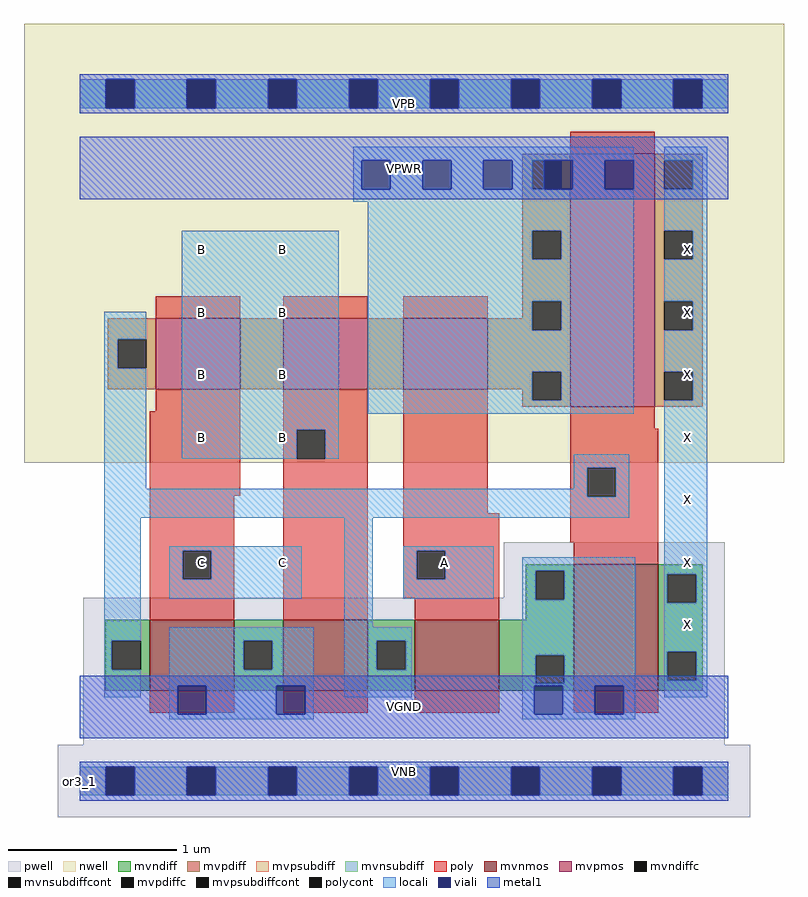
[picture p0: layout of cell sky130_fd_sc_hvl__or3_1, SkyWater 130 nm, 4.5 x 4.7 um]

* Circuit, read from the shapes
.subckt sky130_fd_sc_hvl__or3_1 A B C VGND VNB VPB VPWR X
XM1 VGND C n1 VNB sky130_fd_pr__nfet_g5v0d10v5 w=0.42 l=0.5
XM2 n1 B VGND VNB sky130_fd_pr__nfet_g5v0d10v5 w=0.42 l=0.5
XM3 VGND A n1 VNB sky130_fd_pr__nfet_g5v0d10v5 w=0.42 l=0.5
XM4 X n1 VGND VNB sky130_fd_pr__nfet_g5v0d10v5 w=0.75 l=0.5
XM5 n2 C n1 VPB sky130_fd_pr__pfet_g5v0d10v5 w=0.42 l=0.5
XM6 n3 B n2 VPB sky130_fd_pr__pfet_g5v0d10v5 w=0.42 l=0.5
XM7 VPWR A n3 VPB sky130_fd_pr__pfet_g5v0d10v5 w=0.42 l=0.5
XM8 X n1 VPWR VPB sky130_fd_pr__pfet_g5v0d10v5 w=1.5 l=0.5
.ends

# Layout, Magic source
magic
tech sky130A
magscale 1 2
<< nwell >>
rect -66 377 834 897
<< pwell >>
rect 502 217 764 283
rect 4 43 764 217
rect -26 -43 794 43
<< mvnmos >>
rect 83 107 183 191
rect 241 107 341 191
rect 397 107 497 191
rect 585 107 685 257
<< mvpmos >>
rect 90 464 190 548
rect 241 464 341 548
rect 383 464 483 548
rect 581 443 681 743
<< mvndiff >>
rect 528 249 585 257
rect 528 215 540 249
rect 574 215 585 249
rect 528 191 585 215
rect 30 166 83 191
rect 30 132 38 166
rect 72 132 83 166
rect 30 107 83 132
rect 183 166 241 191
rect 183 132 194 166
rect 228 132 241 166
rect 183 107 241 132
rect 341 166 397 191
rect 341 132 352 166
rect 386 132 397 166
rect 341 107 397 132
rect 497 149 585 191
rect 497 115 540 149
rect 574 115 585 149
rect 497 107 585 115
rect 685 245 738 257
rect 685 211 696 245
rect 730 211 738 245
rect 685 153 738 211
rect 685 119 696 153
rect 730 119 738 153
rect 685 107 738 119
<< mvpdiff >>
rect 524 735 581 743
rect 524 701 536 735
rect 570 701 581 735
rect 524 652 581 701
rect 524 618 536 652
rect 570 618 581 652
rect 524 568 581 618
rect 524 548 536 568
rect 33 523 90 548
rect 33 489 45 523
rect 79 489 90 523
rect 33 464 90 489
rect 190 464 241 548
rect 341 464 383 548
rect 483 534 536 548
rect 570 534 581 568
rect 483 485 581 534
rect 483 464 536 485
rect 524 451 536 464
rect 570 451 581 485
rect 524 443 581 451
rect 681 735 738 743
rect 681 701 692 735
rect 726 701 738 735
rect 681 652 738 701
rect 681 618 692 652
rect 726 618 738 652
rect 681 568 738 618
rect 681 534 692 568
rect 726 534 738 568
rect 681 485 738 534
rect 681 451 692 485
rect 726 451 738 485
rect 681 443 738 451
<< mvndiffc >>
rect 540 215 574 249
rect 38 132 72 166
rect 194 132 228 166
rect 352 132 386 166
rect 540 115 574 149
rect 696 211 730 245
rect 696 119 730 153
<< mvpdiffc >>
rect 536 701 570 735
rect 536 618 570 652
rect 45 489 79 523
rect 536 534 570 568
rect 536 451 570 485
rect 692 701 726 735
rect 692 618 726 652
rect 692 534 726 568
rect 692 451 726 485
<< mvpsubdiff >>
rect 0 -17 31 17
rect 65 -17 127 17
rect 161 -17 223 17
rect 257 -17 319 17
rect 353 -17 415 17
rect 449 -17 511 17
rect 545 -17 607 17
rect 641 -17 703 17
rect 737 -17 768 17
<< mvnsubdiff >>
rect 0 797 31 831
rect 65 797 127 831
rect 161 797 223 831
rect 257 797 319 831
rect 353 797 415 831
rect 449 797 511 831
rect 545 797 607 831
rect 641 797 703 831
rect 737 797 768 831
<< mvpsubdiffcont >>
rect 31 -17 65 17
rect 127 -17 161 17
rect 223 -17 257 17
rect 319 -17 353 17
rect 415 -17 449 17
rect 511 -17 545 17
rect 607 -17 641 17
rect 703 -17 737 17
<< mvnsubdiffcont >>
rect 31 797 65 831
rect 127 797 161 831
rect 223 797 257 831
rect 319 797 353 831
rect 415 797 449 831
rect 511 797 545 831
rect 607 797 641 831
rect 703 797 737 831
<< poly >>
rect 581 743 681 769
rect 90 548 190 574
rect 241 548 341 574
rect 383 548 483 574
rect 90 438 190 464
rect 83 338 190 438
rect 241 416 341 464
rect 241 382 257 416
rect 291 382 341 416
rect 83 273 183 338
rect 83 239 122 273
rect 156 239 183 273
rect 83 191 183 239
rect 241 191 341 382
rect 383 317 483 464
rect 581 417 681 443
rect 581 371 685 417
rect 581 337 601 371
rect 635 337 685 371
rect 383 273 497 317
rect 581 283 685 337
rect 383 239 399 273
rect 433 239 497 273
rect 585 257 685 283
rect 383 217 497 239
rect 397 191 497 217
rect 83 81 183 107
rect 241 81 341 107
rect 397 81 497 107
rect 585 81 685 107
<< polycont >>
rect 257 382 291 416
rect 122 239 156 273
rect 601 337 635 371
rect 399 239 433 273
<< locali >>
rect 0 797 31 831
rect 65 797 127 831
rect 161 797 223 831
rect 257 797 319 831
rect 353 797 415 831
rect 449 797 511 831
rect 545 797 607 831
rect 641 797 703 831
rect 737 797 768 831
rect 324 735 656 751
rect 324 701 334 735
rect 368 701 406 735
rect 440 701 478 735
rect 512 701 536 735
rect 584 701 622 735
rect 324 686 656 701
rect 341 652 656 686
rect 29 523 79 556
rect 29 489 45 523
rect 29 346 79 489
rect 121 416 307 652
rect 341 618 536 652
rect 570 618 656 652
rect 341 568 656 618
rect 341 534 536 568
rect 570 534 656 568
rect 341 485 656 534
rect 341 451 536 485
rect 570 451 656 485
rect 341 435 656 451
rect 692 735 743 751
rect 726 701 743 735
rect 692 652 743 701
rect 726 618 743 652
rect 692 568 743 618
rect 726 534 743 568
rect 692 485 743 534
rect 726 451 743 485
rect 121 382 257 416
rect 291 382 307 416
rect 585 371 651 387
rect 585 346 601 371
rect 29 337 601 346
rect 635 337 651 371
rect 29 312 651 337
rect 29 166 72 312
rect 106 273 263 278
rect 106 239 122 273
rect 156 239 263 273
rect 106 216 263 239
rect 313 182 347 312
rect 383 273 490 278
rect 383 239 399 273
rect 433 239 490 273
rect 383 216 490 239
rect 524 249 658 265
rect 524 215 540 249
rect 574 215 658 249
rect 29 132 38 166
rect 29 99 72 132
rect 106 166 277 182
rect 106 132 194 166
rect 228 132 277 166
rect 106 113 277 132
rect 106 79 116 113
rect 150 79 233 113
rect 267 79 277 113
rect 313 166 393 182
rect 313 132 352 166
rect 386 132 393 166
rect 313 99 393 132
rect 524 149 658 215
rect 524 115 540 149
rect 574 115 658 149
rect 524 113 658 115
rect 106 73 277 79
rect 524 79 538 113
rect 572 79 610 113
rect 644 79 658 113
rect 692 245 743 451
rect 692 211 696 245
rect 730 211 743 245
rect 692 153 743 211
rect 692 119 696 153
rect 730 119 743 153
rect 692 99 743 119
rect 524 73 658 79
rect 0 -17 31 17
rect 65 -17 127 17
rect 161 -17 223 17
rect 257 -17 319 17
rect 353 -17 415 17
rect 449 -17 511 17
rect 545 -17 607 17
rect 641 -17 703 17
rect 737 -17 768 17
<< viali >>
rect 31 797 65 831
rect 127 797 161 831
rect 223 797 257 831
rect 319 797 353 831
rect 415 797 449 831
rect 511 797 545 831
rect 607 797 641 831
rect 703 797 737 831
rect 334 701 368 735
rect 406 701 440 735
rect 478 701 512 735
rect 550 701 570 735
rect 570 701 584 735
rect 622 701 656 735
rect 116 79 150 113
rect 233 79 267 113
rect 538 79 572 113
rect 610 79 644 113
rect 31 -17 65 17
rect 127 -17 161 17
rect 223 -17 257 17
rect 319 -17 353 17
rect 415 -17 449 17
rect 511 -17 545 17
rect 607 -17 641 17
rect 703 -17 737 17
<< metal1 >>
rect 0 831 768 837
rect 0 797 31 831
rect 65 797 127 831
rect 161 797 223 831
rect 257 797 319 831
rect 353 797 415 831
rect 449 797 511 831
rect 545 797 607 831
rect 641 797 703 831
rect 737 797 768 831
rect 0 791 768 797
rect 0 735 768 763
rect 0 701 334 735
rect 368 701 406 735
rect 440 701 478 735
rect 512 701 550 735
rect 584 701 622 735
rect 656 701 768 735
rect 0 689 768 701
rect 0 113 768 125
rect 0 79 116 113
rect 150 79 233 113
rect 267 79 538 113
rect 572 79 610 113
rect 644 79 768 113
rect 0 51 768 79
rect 0 17 768 23
rect 0 -17 31 17
rect 65 -17 127 17
rect 161 -17 223 17
rect 257 -17 319 17
rect 353 -17 415 17
rect 449 -17 511 17
rect 545 -17 607 17
rect 641 -17 703 17
rect 737 -17 768 17
rect 0 -23 768 -17
<< labels >>
rlabel comment s 0 0 0 0 4 or3_1
flabel metal1 s 0 51 768 125 0 FreeSans 340 0 0 0 VGND
port 4 nsew ground bidirectional
flabel metal1 s 0 0 768 23 0 FreeSans 340 0 0 0 VNB
port 5 nsew ground bidirectional
flabel metal1 s 0 689 768 763 0 FreeSans 340 0 0 0 VPWR
port 7 nsew power bidirectional
flabel metal1 s 0 791 768 814 0 FreeSans 340 0 0 0 VPB
port 6 nsew power bidirectional
flabel locali s 415 242 449 276 0 FreeSans 340 0 0 0 A
port 1 nsew signal input
flabel locali s 127 390 161 424 0 FreeSans 340 0 0 0 B
port 2 nsew signal input
flabel locali s 127 464 161 498 0 FreeSans 340 0 0 0 B
port 2 nsew signal input
flabel locali s 127 538 161 572 0 FreeSans 340 0 0 0 B
port 2 nsew signal input
flabel locali s 127 612 161 646 0 FreeSans 340 0 0 0 B
port 2 nsew signal input
flabel locali s 223 390 257 424 0 FreeSans 340 0 0 0 B
port 2 nsew signal input
flabel locali s 223 464 257 498 0 FreeSans 340 0 0 0 B
port 2 nsew signal input
flabel locali s 223 538 257 572 0 FreeSans 340 0 0 0 B
port 2 nsew signal input
flabel locali s 223 612 257 646 0 FreeSans 340 0 0 0 B
port 2 nsew signal input
flabel locali s 127 242 161 276 0 FreeSans 340 0 0 0 C
port 3 nsew signal input
flabel locali s 223 242 257 276 0 FreeSans 340 0 0 0 C
port 3 nsew signal input
flabel locali s 703 168 737 202 0 FreeSans 340 0 0 0 X
port 8 nsew signal output
flabel locali s 703 242 737 276 0 FreeSans 340 0 0 0 X
port 8 nsew signal output
flabel locali s 703 316 737 350 0 FreeSans 340 0 0 0 X
port 8 nsew signal output
flabel locali s 703 390 737 424 0 FreeSans 340 0 0 0 X
port 8 nsew signal output
flabel locali s 703 464 737 498 0 FreeSans 340 0 0 0 X
port 8 nsew signal output
flabel locali s 703 538 737 572 0 FreeSans 340 0 0 0 X
port 8 nsew signal output
flabel locali s 703 612 737 646 0 FreeSans 340 0 0 0 X
port 8 nsew signal output
<< properties >>
string FIXED_BBOX 0 0 768 814
string GDS_END 367552
string GDS_FILE $PDKPATH/libs.ref/sky130_fd_sc_hvl/gds/sky130_fd_sc_hvl.gds
string GDS_START 357224
string LEFclass CORE
string LEFsite unithv
string LEFsymmetry X Y
<< end >>
